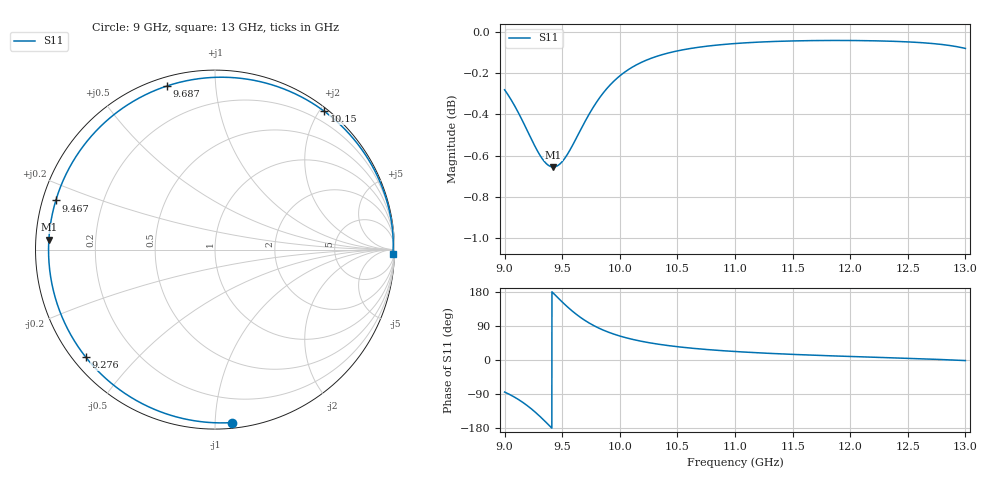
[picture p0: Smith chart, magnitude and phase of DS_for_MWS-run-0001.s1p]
! TOUCHSTONE file generated by CST DESIGN STUDIO
! Date and time: Wed Feb  5 13:30:01 2025
! Project name: C:\Work\MatlabApps\UnitCellOptimizationMatlab\CST\unitcell.cst
! Tree item: Tasks\Sweep1\SPara1\S-Parameters
! Header version: 2024
! Port assignment regex: !\s*Touchstone port\s*([0-9]+)\s*=\s*(CST MWS port|CST DES external port|CST DES block port)\s*(.+)\s* \(\"(.*)\"\)(\s*mode\s*([0-9]+))?.*
! Touchstone port assignment:
! Touchstone port 1 = CST DES external port 1 ("")
# GHz S MA R 50
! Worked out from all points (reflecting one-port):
!   4001 points, 9 GHz to 13 GHz, reference 50 ohm
!   lowest |S11| = -0.7 dB at 9.422 GHz (marker M1), VSWR 26.52, Z = 1.89 + j1.5 ohm
!   phase of S11 starts at -85 deg and turns -277 deg over the sweep
!   S11 on the Smith chart (normalised r, x): 9 GHz: 0.04, -1.10; 9.276 GHz: 0.04, -0.36; 9.467 GHz: 0.04, +0.15; 9.687 GHz: 0.04, +0.75; 10.15 GHz: 0.05, +2.06; 13 GHz: 23, -68
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9  0.9683 -84.5
9.02  0.9665 -87.4
9.083  0.9601 -97.5
9.152  0.952 -110.6
9.215  0.9441 -124.7
9.276  0.9367 -140.3
9.353  0.9296 -162.4
9.388  0.9279 -173.0
9.422  0.9273 176.6
9.467  0.9283 162.8
9.5  0.9301 153.1
9.547  0.9341 139.8
9.592  0.9389 128.0
9.638  0.9442 117.0
9.687  0.95 106.5
9.757  0.9576 93.6
9.84  0.9653 81.1
9.917  0.971 71.6
10  0.9758 63.3
10.149  0.982 51.8
10.308  0.9863 42.9
10.5  0.9896 35.1
10.723  0.9919 28.5
11  0.9937 22.4
11.5  0.9951 14.8
12  0.9954 9.3
12.5  0.9946 4.4
13  0.9909 -1.5
